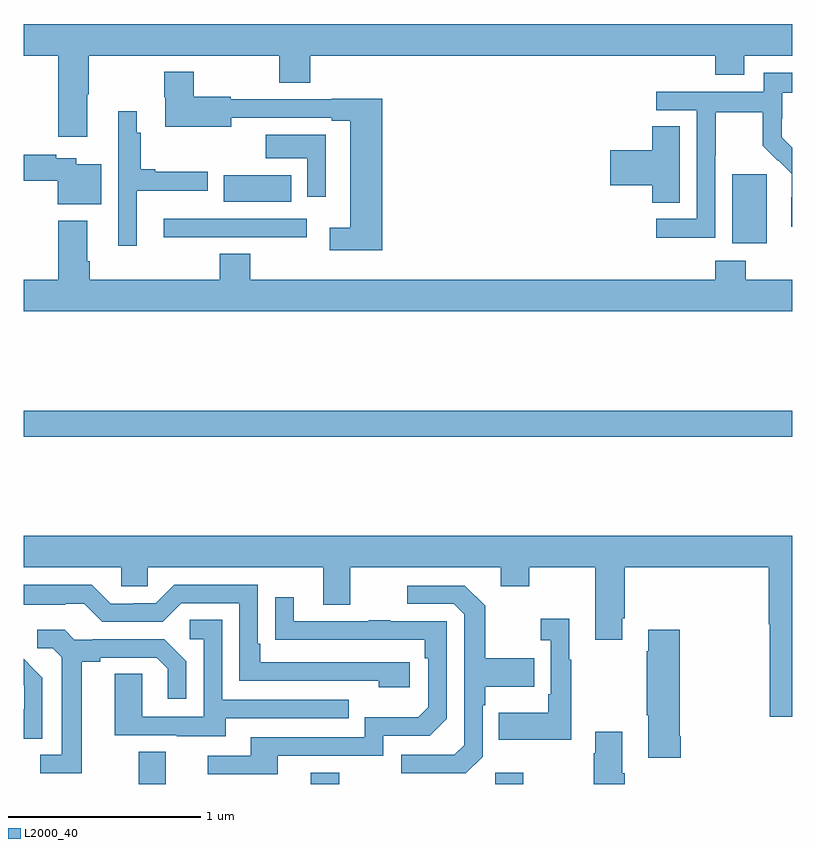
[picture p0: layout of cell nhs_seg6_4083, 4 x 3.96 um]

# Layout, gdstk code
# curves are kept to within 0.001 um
import gdstk
lib = gdstk.Library(unit=1e-6, precision=1e-09)
def R(c, l, rs):  # rectangles x0, y0, x1, y1
    for r in rs: c.add(gdstk.rectangle(r[:2], r[2:], *l))
def P(c, l, *ps):  # polygons
    for p in ps: c.add(gdstk.Polygon(p, *l))
L2000_40 = (2000, 40)

nhs_seg6_4083 = lib.new_cell('nhs_seg6_4083')
R(nhs_seg6_4083, L2000_40, [(351.599,987.5,351.739,987.668), (352.493,987.5,352.641,987.559), (353.454,987.5,353.601,987.559), (351,989.308,355,989.444), (354.689,990.314,354.868,990.675), (352.042,990.53,352.391,990.67)])
P(nhs_seg6_4083, L2000_40, [(351.331,991.09),(351.339,991.09),(351.339,991.292),(352.33,991.292),(352.33,991.15),(352.49,991.15),(352.49,991.292),(354.599,991.292),(354.599,991.193),(354.751,991.193),(354.751,991.292),(355,991.292),(355,991.456),(351,991.456),(351,991.292),(351.179,991.292),(351.179,990.87),(351.331,990.87)],
  [(352.865,991.068),(352.604,991.068),(352.604,991.065),(352.077,991.065),(352.077,991.078),(351.885,991.078),(351.885,991.207),(351.73,991.207),(351.73,991.074),(351.737,991.074),(351.737,990.92),(352.081,990.92),(352.081,990.969),(352.604,990.969),(352.604,990.953),(352.7,990.953),(352.7,990.395),(352.593,990.395),(352.593,990.278),(352.865,990.278)],
  [(354.6,990.772),(354.603,990.772),(354.603,990.996),(354.847,990.996),(354.847,990.821),(354.924,990.744),(354.927,990.747),(354.998,990.677),(354.998,990.554),(354.996,990.554),(354.996,990.4),(355,990.4),(355,990.812),(354.946,990.866),(354.946,990.963),(354.948,990.963),(354.948,991.097),(355,991.097),(355,991.201),(354.852,991.201),(354.852,991.104),(354.291,991.104),(354.291,991.008),(354.504,991.008),(354.504,990.441),(354.291,990.441),(354.291,990.343),(354.6,990.343)],
  [(351.589,990.587),(351.957,990.587),(351.957,990.687),(351.685,990.687),(351.685,990.7),(351.608,990.7),(351.608,990.89),(351.589,990.89),(351.589,991.003),(351.491,991.003),(351.491,990.781),(351.492,990.781),(351.492,990.303),(351.589,990.303)],
  [(354.415,990.923),(354.272,990.923),(354.272,990.8),(354.054,990.8),(354.054,990.617),(354.272,990.617),(354.272,990.526),(354.415,990.526)],
  [(352.572,990.879),(352.26,990.879),(352.26,990.758),(352.476,990.758),(352.476,990.558),(352.572,990.558)],
  [(351.403,990.727),(351.274,990.727),(351.274,990.756),(351.17,990.756),(351.17,990.776),(351,990.776),(351,990.64),(351.176,990.64),(351.176,990.518),(351.403,990.518)],
  [(352.474,990.441),(351.948,990.441),(351.948,990.442),(351.729,990.442),(351.729,990.345),(352.474,990.345)],
  [(355,990.124),(354.759,990.124),(354.759,990.223),(354.599,990.223),(354.599,990.124),(352.179,990.124),(352.179,990.26),(352.019,990.26),(352.019,990.124),(351.344,990.124),(351.344,990.22),(351.331,990.22),(351.331,990.433),(351.179,990.433),(351.179,990.124),(351,990.124),(351,989.96),(355,989.96)],
  [(355,988.792),(351,988.792),(351,988.628),(351.507,988.628),(351.507,988.53),(351.645,988.53),(351.645,988.628),(352.559,988.628),(352.559,988.434),(352.699,988.434),(352.699,988.628),(353.483,988.628),(353.483,988.529),(353.631,988.529),(353.631,988.628),(353.975,988.628),(353.975,988.251),(354.115,988.251),(354.115,988.363),(354.128,988.363),(354.128,988.628),(354.878,988.628),(354.878,988.332),(354.883,988.332),(354.883,987.849),(355,987.849)],
  [(353.008,988.134),(352.231,988.134),(352.231,988.231),(352.218,988.231),(352.218,988.536),(351.783,988.536),(351.687,988.44),(351.569,988.44),(351.569,988.437),(351.453,988.437),(351.353,988.537),(351,988.537),(351,988.433),(351.215,988.433),(351.215,988.437),(351.315,988.437),(351.408,988.344),(351.723,988.344),(351.819,988.44),(352.122,988.44),(352.122,988.038),(352.847,988.038),(352.847,988.004),(353.008,988.004)],
  [(353.388,987.642),(353.388,987.911),(353.401,987.911),(353.401,988.007),(353.657,988.007),(353.657,988.155),(353.401,988.155),(353.401,988.427),(353.295,988.533),(352.995,988.533),(352.995,988.437),(353.238,988.437),(353.292,988.383),(353.292,987.702),(353.241,987.651),(352.965,987.651),(352.965,987.555),(353.301,987.555)],
  [(352.321,987.648),(352.872,987.648),(352.872,987.75),(353.112,987.75),(353.202,987.84),(353.202,988.347),(352.907,988.347),(352.907,988.352),(352.795,988.352),(352.795,988.347),(352.405,988.347),(352.405,988.471),(352.309,988.471),(352.309,988.252),(353.086,988.251),(353.086,988.154),(353.106,988.154),(353.106,987.9),(353.053,987.847),(352.776,987.847),(352.776,987.744),(352.181,987.744),(352.181,987.648),(351.957,987.648),(351.957,987.552),(352.321,987.552)],
  [(353.851,988.147),(353.839,988.147),(353.839,988.36),(353.691,988.36),(353.691,988.247),(353.742,988.247),(353.742,987.967),(353.73,987.967),(353.73,987.871),(353.473,987.871),(353.473,987.731),(353.851,987.731)],
  [(352.051,987.843),(352.691,987.843),(352.691,987.939),(352.032,987.939),(352.032,988.355),(351.864,988.355),(351.864,988.254),(351.936,988.254),(351.936,987.849),(351.618,987.849),(351.618,988.073),(351.473,988.073),(351.473,987.753),(351.797,987.753),(351.797,987.749),(352.051,987.749)],
  [(354.419,987.748),(354.414,987.748),(354.414,988.303),(354.251,988.303),(354.251,988.19),(354.244,988.19),(354.244,987.859),(354.251,987.859),(354.251,987.636),(354.419,987.636)],
  [(351.301,988.136),(351.397,988.136),(351.397,988.158),(351.692,988.158),(351.749,988.101),(351.749,987.945),(351.846,987.945),(351.846,988.138),(351.73,988.254),(351.358,988.254),(351.358,988.251),(351.264,988.251),(351.212,988.303),(351.069,988.303),(351.069,988.206),(351.15,988.206),(351.197,988.159),(351.197,987.651),(351.087,987.651),(351.087,987.555),(351.301,987.555)],
  [(351.096,988.054),(351.023,988.127),(351.024,988.128),(351,988.152),(351,988.015),(351.002,988.013),(351.002,987.89),(351,987.89),(351,987.736),(351.096,987.736)],
  [(354.128,987.556),(354.115,987.556),(354.115,987.772),(353.975,987.772),(353.975,987.659),(353.968,987.659),(353.968,987.5),(354.128,987.5)])

lib.write_gds('nhs_seg6_4083.gds')
